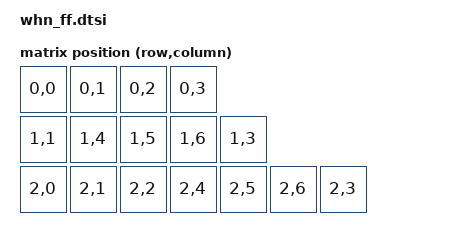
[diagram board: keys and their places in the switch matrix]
#include "whn_ff-layouts.dtsi"
#include <dt-bindings/zmk/matrix_transform.h>

/ {
    matrix_transform0: matrix_transform0 {
        compatible = "zmk,matrix-transform";
        columns = <7>;
        rows = <3>;
        map = <
            RC(0,0) RC(0,1) RC(0,2) RC(0,3)
            RC(1,1) RC(1,4) RC(1,5) RC(1,6) RC(1,3)
            RC(2,0) RC(2,1) RC(2,2) RC(2,4) RC(2,5) RC(2,6) RC(2,3)
        >;
    };
};

&physical_layout_whn_ff {
    transform = <&matrix_transform0>;
};

